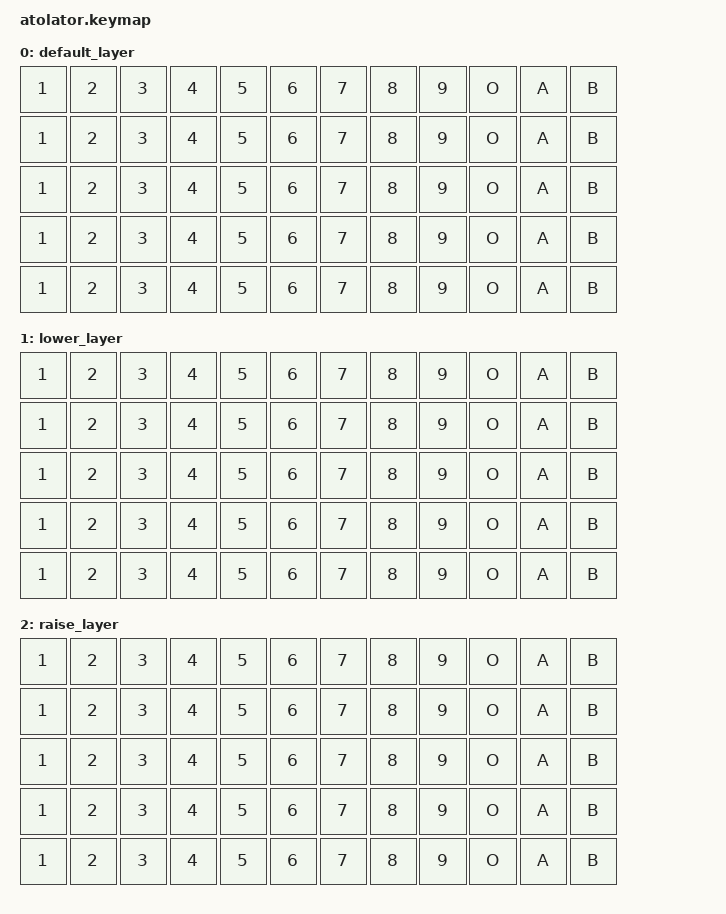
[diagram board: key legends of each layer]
/*
 * Copyright (c) 2020 The ZMK Contributors
 *
 * SPDX-License-Identifier: MIT
 */

#include <behaviors.dtsi>
#include <dt-bindings/zmk/keys.h>
#include <dt-bindings/zmk/bt.h>

/ {
        keymap {
                compatible = "zmk,keymap";

                default_layer {
// -----------------------------------------------------------------------------------------
// |  TAB |  Q  |  W  |  E  |  R  |  T  |   |  Y  |  U   |  I  |  O  |  P  | BSPC |
// | CTRL |  A  |  S  |  D  |  F  |  G  |   |  H  |  J   |  K  |  L  |  ;  |  '   |
// | SHFT |  Z  |  X  |  C  |  V  |  B  |   |  N  |  M   |  ,  |  .  |  /  | ESC  |
//                    | GUI | LWR | SPC |   | ENT | RSE  | ALT |
                        bindings = <
   &kp 1   &kp 2 &kp 3 &kp 4 &kp 5 &kp 6   &kp 7 &kp 8  &kp 9     &kp O   &kp A    &kp B
   &kp 1   &kp 2 &kp 3 &kp 4 &kp 5 &kp 6   &kp 7 &kp 8  &kp 9     &kp O   &kp A    &kp B
   &kp 1   &kp 2 &kp 3 &kp 4 &kp 5 &kp 6   &kp 7 &kp 8  &kp 9     &kp O   &kp A    &kp B
   &kp 1   &kp 2 &kp 3 &kp 4 &kp 5 &kp 6   &kp 7 &kp 8  &kp 9     &kp O   &kp A    &kp B
   &kp 1   &kp 2 &kp 3 &kp 4 &kp 5 &kp 6   &kp 7 &kp 8  &kp 9     &kp O   &kp A    &kp B
                        >;
                };
                lower_layer {
// -----------------------------------------------------------------------------------------
// |  TAB |  1  |  2  |  3  |  4  |  5  |   |  6  |  7  |  8  |  9  |  0  | BSPC |
// | BTCLR| BT1 | BT2 | BT3 | BT4 | BT5 |   | LFT | DWN |  UP | RGT |     |      |
// | SHFT |     |     |     |     |     |   |     |     |     |     |     |      |
//                    | GUI |     | SPC |   | ENT |     | ALT |
                        bindings = <
   &kp 1   &kp 2 &kp 3 &kp 4 &kp 5 &kp 6   &kp 7 &kp 8  &kp 9     &kp O   &kp A    &kp B
   &kp 1   &kp 2 &kp 3 &kp 4 &kp 5 &kp 6   &kp 7 &kp 8  &kp 9     &kp O   &kp A    &kp B
   &kp 1   &kp 2 &kp 3 &kp 4 &kp 5 &kp 6   &kp 7 &kp 8  &kp 9     &kp O   &kp A    &kp B
   &kp 1   &kp 2 &kp 3 &kp 4 &kp 5 &kp 6   &kp 7 &kp 8  &kp 9     &kp O   &kp A    &kp B
   &kp 1   &kp 2 &kp 3 &kp 4 &kp 5 &kp 6   &kp 7 &kp 8  &kp 9     &kp O   &kp A    &kp B
                        >;
                };

                raise_layer {
// -----------------------------------------------------------------------------------------
// |  TAB |  !  |  @  |  #  |  $  |  %  |   |  ^  |  &  |  *  |  (  |  )  | BSPC |
// | CTRL |     |     |     |     |     |   |  -  |  =  |  [  |  ]  |  \  |  `   |
// | SHFT |     |     |     |     |     |   |  _  |  +  |  {  |  }  | "|" |  ~   |
//                    | GUI |     | SPC |   | ENT |     | ALT |
                        bindings = <
   &kp 1   &kp 2 &kp 3 &kp 4 &kp 5 &kp 6   &kp 7 &kp 8  &kp 9     &kp O   &kp A    &kp B
   &kp 1   &kp 2 &kp 3 &kp 4 &kp 5 &kp 6   &kp 7 &kp 8  &kp 9     &kp O   &kp A    &kp B
   &kp 1   &kp 2 &kp 3 &kp 4 &kp 5 &kp 6   &kp 7 &kp 8  &kp 9     &kp O   &kp A    &kp B
   &kp 1   &kp 2 &kp 3 &kp 4 &kp 5 &kp 6   &kp 7 &kp 8  &kp 9     &kp O   &kp A    &kp B
   &kp 1   &kp 2 &kp 3 &kp 4 &kp 5 &kp 6   &kp 7 &kp 8  &kp 9     &kp O   &kp A    &kp B
                        >;
                };
        };
};
